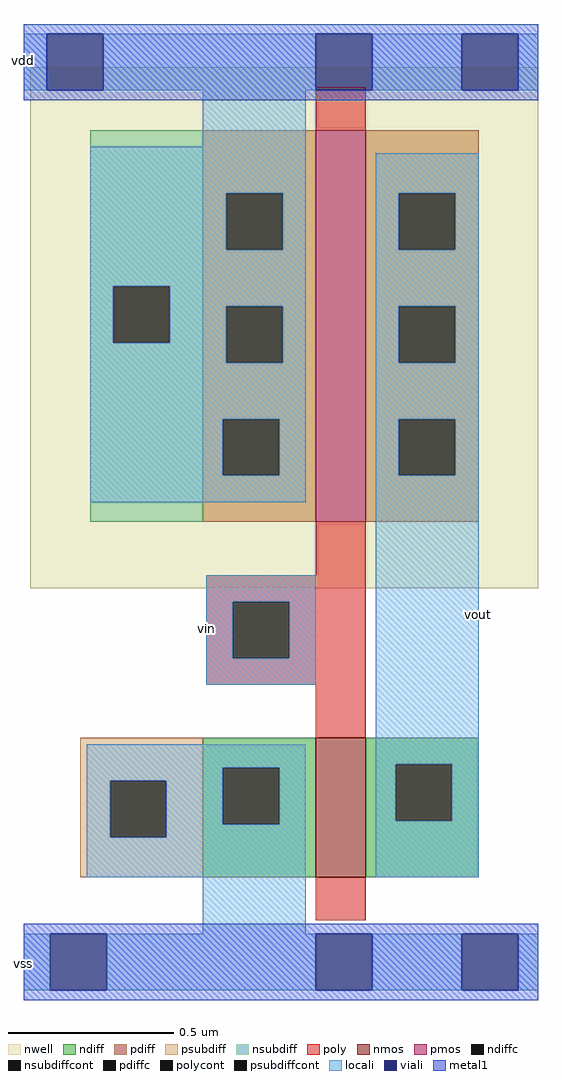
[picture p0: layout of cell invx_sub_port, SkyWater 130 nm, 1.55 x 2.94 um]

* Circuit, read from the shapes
.subckt invx_sub_port vin vdd vss vout
XM1 vout vin vss vss sky130_fd_pr__nfet_01v8 w=0.42 l=0.15
XM2 vout vin vdd vdd sky130_fd_pr__pfet_01v8 w=1.18 l=0.15
.ends

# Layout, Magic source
magic
tech sky130A
<< nwell >>
rect -94 69 59 226
<< nmos >>
rect -8 -18 7 24
<< pmos >>
rect -8 89 7 207
<< ndiff >>
rect -42 15 -8 24
rect -42 -2 -36 15
rect -19 -2 -8 15
rect -42 -18 -8 -2
rect 7 16 41 24
rect 7 -1 16 16
rect 33 -1 41 16
rect 7 -18 41 -1
<< pdiff >>
rect -42 188 -8 207
rect -42 171 -35 188
rect -18 171 -8 188
rect -42 154 -8 171
rect -42 137 -35 154
rect -18 137 -8 154
rect -42 120 -8 137
rect -42 103 -36 120
rect -19 103 -8 120
rect -42 89 -8 103
rect 7 188 41 207
rect 7 171 17 188
rect 34 171 41 188
rect 7 154 41 171
rect 7 137 17 154
rect 34 137 41 154
rect 7 120 41 137
rect 7 103 17 120
rect 34 103 41 120
rect 7 89 41 103
<< ndiffc >>
rect -36 -2 -19 15
rect 16 -1 33 16
<< pdiffc >>
rect -35 171 -18 188
rect -35 137 -18 154
rect -36 103 -19 120
rect 17 171 34 188
rect 17 137 34 154
rect 17 103 34 120
<< psubdiff >>
rect -79 11 -42 24
rect -79 -6 -70 11
rect -53 -6 -42 11
rect -79 -18 -42 -6
<< nsubdiff >>
rect -76 160 -42 207
rect -76 143 -69 160
rect -52 143 -42 160
rect -76 89 -42 143
<< psubdiffcont >>
rect -70 -6 -53 11
<< nsubdiffcont >>
rect -69 143 -52 160
<< poly >>
rect -8 207 7 220
rect -8 73 7 89
rect -41 65 7 73
rect -41 48 -33 65
rect -16 48 7 65
rect -41 40 7 48
rect -8 24 7 40
rect -8 -31 7 -18
<< polycont >>
rect -33 48 -16 65
<< locali >>
rect -96 219 -89 236
rect -72 219 -8 236
rect 9 219 36 236
rect 53 219 59 236
rect -42 202 -11 219
rect -76 188 -11 202
rect -76 171 -35 188
rect -18 171 -11 188
rect -76 160 -11 171
rect -76 143 -69 160
rect -52 154 -11 160
rect -52 143 -35 154
rect -76 137 -35 143
rect -18 137 -11 154
rect -76 120 -11 137
rect -76 103 -36 120
rect -19 103 -11 120
rect -76 95 -11 103
rect 10 188 41 200
rect 10 171 17 188
rect 34 171 41 188
rect 10 154 41 171
rect 10 137 17 154
rect 34 137 41 154
rect 10 120 41 137
rect 10 103 17 120
rect 34 103 41 120
rect -41 65 -8 73
rect -41 48 -33 65
rect -16 48 -8 65
rect -41 40 -8 48
rect -77 15 -11 22
rect -77 11 -36 15
rect -77 -6 -70 11
rect -53 -2 -36 11
rect -19 -2 -11 15
rect -53 -6 -11 -2
rect -77 -18 -11 -6
rect 10 16 41 103
rect 10 -1 16 16
rect 33 -1 41 16
rect 10 -18 41 -1
rect -42 -35 -11 -18
rect -96 -52 -88 -35
rect -71 -52 -8 -35
rect 9 -52 36 -35
rect 53 -52 59 -35
<< viali >>
rect -89 219 -72 236
rect -8 219 9 236
rect 36 219 53 236
rect -88 -52 -71 -35
rect -8 -52 9 -35
rect 36 -52 53 -35
<< metal1 >>
rect -96 236 59 239
rect -96 219 -89 236
rect -72 219 -8 236
rect 9 219 36 236
rect 53 219 59 236
rect -96 216 59 219
rect -96 -35 59 -32
rect -96 -52 -88 -35
rect -71 -52 -8 -35
rect 9 -52 36 -35
rect 53 -52 59 -35
rect -96 -55 59 -52
<< labels >>
rlabel metal1 -96 228 -96 228 7 vdd
port 2 w
rlabel metal1 -96 -44 -96 -44 7 vss
port 3 w
rlabel locali 41 61 41 61 3 vout
port 4 e
rlabel locali -41 57 -41 57 7 vin
port 1 w
<< end >>
